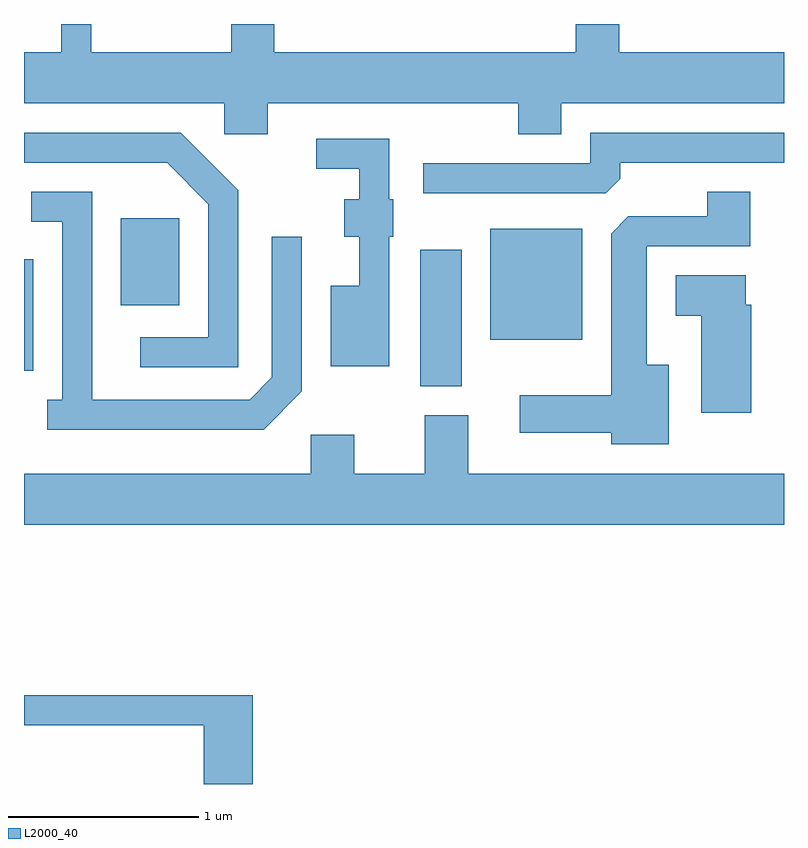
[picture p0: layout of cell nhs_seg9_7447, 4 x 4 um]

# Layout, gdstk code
import gdstk
lib = gdstk.Library(unit=1e-6, precision=1e-09)
def R(c, l, rs):  # rectangles x0, y0, x1, y1
    for r in rs: c.add(gdstk.rectangle(r[:2], r[2:], *l))
def P(c, l, *ps):  # polygons
    for p in ps: c.add(gdstk.Polygon(p, *l))
L2000_40 = (2000, 40)

nhs_seg9_7447 = lib.new_cell('nhs_seg9_7447')
R(nhs_seg9_7447, L2000_40, [(407.696,2012.526,407.914,2013.244), (405.611,2012.606,405.659,2013.193), (408.066,2012.771,408.549,2013.354), (406.121,2012.951,406.429,2013.409)])
P(nhs_seg9_7447, L2000_40, [(406.894,2014.016),(408.211,2014.016),(408.211,2013.851),(408.439,2013.851),(408.439,2014.016),(409.611,2014.016),(409.611,2014.284),(408.744,2014.284),(408.744,2014.432),(408.516,2014.432),(408.516,2014.284),(406.929,2014.284),(406.929,2014.432),(406.701,2014.432),(406.701,2014.284),(405.964,2014.284),(405.964,2014.432),(405.806,2014.432),(405.806,2014.284),(405.611,2014.284),(405.611,2014.016),(406.666,2014.016),(406.666,2013.851),(406.894,2013.851)],
  [(406.739,2013.557),(406.437,2013.859),(405.611,2013.859),(405.611,2013.701),(406.364,2013.701),(406.581,2013.484),(406.581,2012.784),(406.223,2012.784),(406.223,2012.626),(406.739,2012.626)],
  [(408.749,2013.617),(408.749,2013.701),(409.611,2013.701),(409.611,2013.859),(408.591,2013.859),(408.591,2013.699),(407.713,2013.699),(407.713,2013.541),(408.674,2013.541)],
  [(407.534,2013.311),(407.554,2013.311),(407.554,2013.509),(407.534,2013.509),(407.534,2013.829),(407.148,2013.829),(407.148,2013.671),(407.376,2013.671),(407.376,2013.509),(407.296,2013.509),(407.296,2013.311),(407.376,2013.311),(407.376,2013.054),(407.226,2013.054),(407.226,2012.631),(407.534,2012.631)],
  [(407.074,2012.499),(407.074,2013.313),(406.916,2013.313),(406.916,2012.572),(406.799,2012.454),(405.969,2012.454),(405.969,2013.549),(405.648,2013.549),(405.648,2013.391),(405.811,2013.391),(405.811,2012.454),(405.733,2012.454),(405.733,2012.296),(406.872,2012.296)],
  [(409.004,2012.639),(408.889,2012.639),(408.889,2013.261),(409.434,2013.261),(409.434,2013.549),(409.206,2013.549),(409.206,2013.419),(408.792,2013.419),(408.701,2013.329),(408.701,2012.479),(408.221,2012.479),(408.221,2012.281),(408.701,2012.281),(408.701,2012.221),(409.004,2012.221)],
  [(409.439,2012.954),(409.409,2012.954),(409.409,2013.109),(409.041,2013.109),(409.041,2012.896),(409.176,2012.896),(409.176,2012.386),(409.439,2012.386)],
  [(409.611,2012.064),(407.949,2012.064),(407.949,2012.374),(407.721,2012.374),(407.721,2012.064),(407.349,2012.064),(407.349,2012.269),(407.121,2012.269),(407.121,2012.064),(405.611,2012.064),(405.611,2011.796),(409.611,2011.796)],
  [(406.814,2010.899),(405.611,2010.899),(405.611,2010.741),(406.556,2010.741),(406.556,2010.432),(406.814,2010.432)])

lib.write_gds('nhs_seg9_7447.gds')
